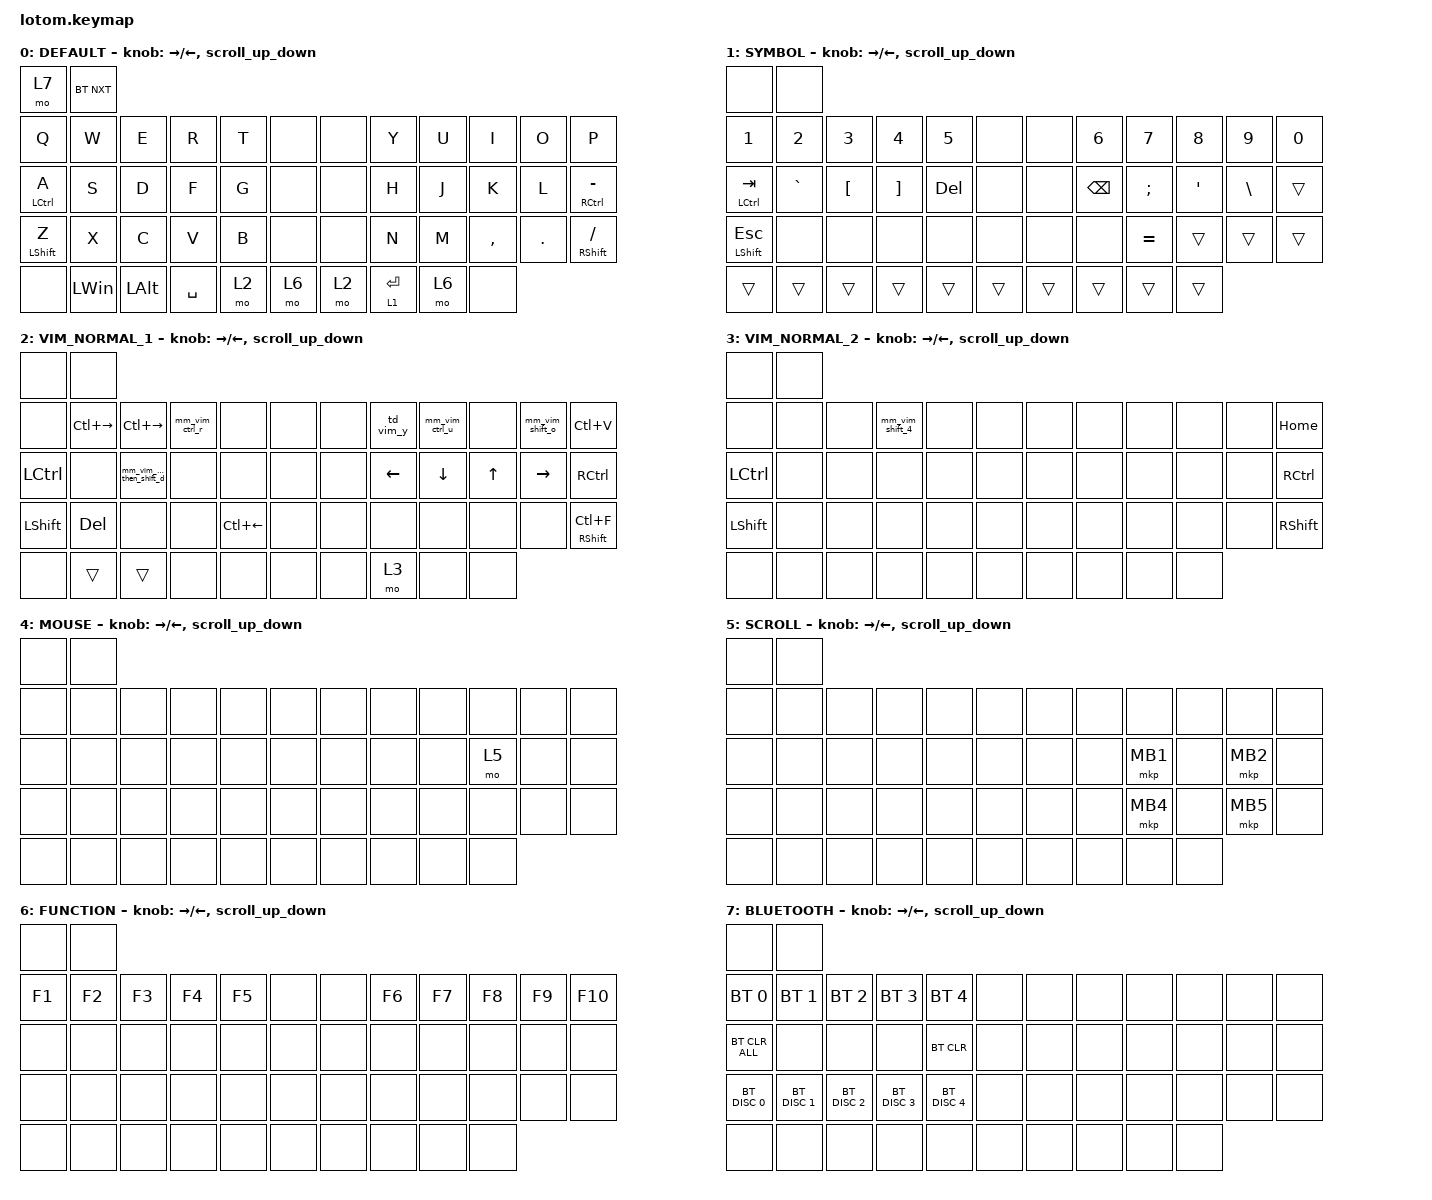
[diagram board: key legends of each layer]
#include <input/processors.dtsi>
#include <behaviors.dtsi>
#include <dt-bindings/zmk/bt.h>
#include <dt-bindings/zmk/keys.h>
#include <dt-bindings/zmk/pointing.h>

#define ZMK_POINTING_DEFAULT_SCRL_VAL 80

&mt {
    quick-tap-ms = <150>;
    tapping-term-ms = <150>;
    flavor = "tap-preferred";
};

&lt {
    tapping-term-ms = <150>;
    quick-tap-ms = <150>;
};

&mkp_input_listener { input-processors = <&zip_temp_layer 4 10000>; };

/ {
    behaviors {
        scroll_up_down: behavior_sensor_rotate_mouse_wheel_up_down {
            compatible = "zmk,behavior-sensor-rotate";
            label = "ENCODER_MSC_DOWN_UP";
            #sensor-binding-cells = <0>;
            bindings = <&msc SCRL_DOWN>, <&msc SCRL_UP>;

            tap-ms = <20>;
        };

        tab_slide: behavior_sensor_rotate_tab_slide {
            compatible = "zmk,behavior-sensor-rotate";
            label = "ENCODER_TAB_SLIDE";
            #sensor-binding-cells = <0>;
            bindings = <&kp LA(LG(RIGHT_ARROW))>, <&kp LA(LG(LEFT_ARROW))>;

            tap-ms = <20>;
        };

        td_vim_d: td_vim_d {
            compatible = "zmk,behavior-tap-dance";
            label = "TD_VIM_D";
            #binding-cells = <0>;
            bindings = <&kp LC(X)>, <&macro_vim_dd>;
        };

        mm_vim_shift_d: mm_vim_shift_d {
            compatible = "zmk,behavior-mod-morph";
            label = "MM_VIM_SHIFT_D";
            bindings = <&td_vim_d>, <&macro_vim_shift_d>;

            #binding-cells = <0>;
            mods = <(MOD_LSFT|MOD_RSFT)>;
        };

        td_vim_y: td_vim_y {
            compatible = "zmk,behavior-tap-dance";
            label = "TD_VIM_Y";
            #binding-cells = <0>;
            bindings = <&kp LC(C)>, <&macro_vim_yy>;
        };

        mm_vim_ctrl_u: mm_vim_ctrl_u {
            compatible = "zmk,behavior-mod-morph";
            label = "MM_VIM_CTRL_U";
            bindings = <&kp LC(Z)>, <&kp PAGE_UP>;

            #binding-cells = <0>;
            mods = <(MOD_LCTL|MOD_RCTL)>;
        };

        mm_vim_shift_o: mm_vim_shift_o {
            compatible = "zmk,behavior-mod-morph";
            label = "MM_VIM_SHIFT_O";
            bindings = <&macro_vim_o>, <&macro_vim_shift_o>;

            #binding-cells = <0>;
            mods = <(MOD_LSFT|MOD_RSFT)>;
        };

        mm_vim_ctrl_then_shift_d: mm_vim_ctrl_then_shift_d {
            compatible = "zmk,behavior-mod-morph";
            label = "MM_VIM_CTRL_THEN_SHIFT_D";
            bindings = <&mm_vim_shift_d>, <&kp PAGE_DOWN>;

            #binding-cells = <0>;
            mods = <(MOD_LCTL|MOD_RCTL)>;
        };

        mm_vim_shift_4: mm_vim_shift_4 {
            compatible = "zmk,behavior-mod-morph";
            label = "MM_VIM_SHIFT_4";
            bindings = <&none>, <&kp END>;

            #binding-cells = <0>;
            mods = <(MOD_LSFT|MOD_RSFT)>;
        };

        mm_vim_ctrl_r: mm_vim_ctrl_r {
            compatible = "zmk,behavior-mod-morph";
            label = "MM_VIM_CTRL_R";
            bindings = <&none>, <&kp LC(Y)>;

            #binding-cells = <0>;
            mods = <(MOD_LCTL|MOD_RCTL)>;
        };
    };

    macros {
        macro_vim_dd: macro_delete_line {
            compatible = "zmk,behavior-macro";
            #binding-cells = <0>;
            bindings =
                <&kp HOME>,
                <&macro_wait_time 100>,
                <&kp LS(END)>,
                <&macro_wait_time 100>,
                <&kp LC(X)>;

            label = "MACRO_DELETE_LINE";
        };

        macro_vim_yy: macro_yank_line {
            compatible = "zmk,behavior-macro";
            #binding-cells = <0>;
            bindings =
                <&kp HOME>,
                <&macro_wait_time 100>,
                <&kp LS(END)>,
                <&macro_wait_time 100>,
                <&kp LC(C)>;

            label = "MACRO_YANK_LINE";
        };

        macro_vim_shift_d: macro_vim_shift_d {
            compatible = "zmk,behavior-macro";
            #binding-cells = <0>;
            bindings = <&kp LS(END)>, <&macro_wait_time 100>, <&kp LC(X)>;

            label = "MACRO_VIM_SHIFT_D";
        };

        macro_vim_o: macro_vim_o {
            compatible = "zmk,behavior-macro";
            #binding-cells = <0>;
            bindings = <&kp END>, <&macro_wait_time 100>, <&kp ENTER>;

            label = "MACRO_VIM_O";
        };

        macro_vim_shift_o: macro_vim_shift_o {
            compatible = "zmk,behavior-macro";
            #binding-cells = <0>;
            bindings =
                <&kp HOME>,
                <&macro_wait_time 100>,
                <&kp ENTER>,
                <&macro_wait_time 100>,
                <&kp UP_ARROW>;

            label = "MACRO_VIM_SHIFT_O";
        };
    };

    combos { compatible = "zmk,combos"; };

    keymap {
        compatible = "zmk,keymap";

        DEFAULT {
            bindings = <
&mo 7               &bt BT_NXT
&kp Q               &kp W         &kp E         &kp R      &kp T  &none  &none  &kp Y        &kp U  &kp I      &kp O    &kp P
&mt LEFT_CONTROL A  &kp S         &kp D         &kp F      &kp G  &none  &none  &kp H        &kp J  &kp K      &kp L    &mt RCTRL MINUS
&mt LEFT_SHIFT Z    &kp X         &kp C         &kp V      &kp B  &none  &none  &kp N        &kp M  &kp COMMA  &kp DOT  &mt RIGHT_SHIFT SLASH
&none               &kp LEFT_WIN  &kp LEFT_ALT  &kp SPACE  &mo 2  &mo 6  &mo 2  &lt 1 ENTER  &mo 6  &none
            >;

            sensor-bindings = <
                &inc_dec_kp RIGHT_ARROW LEFT_ARROW
                &scroll_up_down
            >;
        };

        SYMBOL {
            bindings = <
&none                  &none
&kp N1                 &kp N2     &kp N3            &kp N4             &kp N5      &none   &none   &kp N6         &kp N7         &kp N8            &kp N9         &kp N0
&mt LCTRL TAB          &kp GRAVE  &kp LEFT_BRACKET  &kp RIGHT_BRACKET  &kp DELETE  &none   &none   &kp BACKSPACE  &kp SEMICOLON  &kp SINGLE_QUOTE  &kp BACKSLASH  &trans
&mt LEFT_SHIFT ESCAPE  &none      &none             &none              &none       &none   &none   &none          &kp EQUAL      &trans            &trans         &trans
&trans                 &trans     &trans            &trans             &trans      &trans  &trans  &trans         &trans         &trans
            >;

            sensor-bindings = <
                &inc_dec_kp RIGHT_ARROW LEFT_ARROW
                &scroll_up_down
            >;
        };

        VIM_NORMAL_1 {
            bindings = <
&none           &none
&none           &kp LC(RIGHT)  &kp LC(RIGHT)              &mm_vim_ctrl_r  &none         &none  &none  &td_vim_y  &mm_vim_ctrl_u  &none         &mm_vim_shift_o  &kp LC(V)
&kp LCTRL       &none          &mm_vim_ctrl_then_shift_d  &none           &none         &none  &none  &kp LEFT   &kp DOWN        &kp UP_ARROW  &kp RIGHT        &kp RCTRL
&kp LEFT_SHIFT  &kp DELETE     &none                      &none           &kp LC(LEFT)  &none  &none  &none      &none           &none         &none            &mt RIGHT_SHIFT LC(F)
&none           &trans         &trans                     &none           &none         &none  &none  &mo 3      &none           &none
            >;

            sensor-bindings = <
                &inc_dec_kp RIGHT_ARROW LEFT_ARROW
                &scroll_up_down
            >;
        };

        VIM_NORMAL_2 {
            bindings = <
&none           &none
&none           &none  &none  &mm_vim_shift_4  &none  &none  &none  &none  &none  &none  &none  &kp HOME
&kp LCTRL       &none  &none  &none            &none  &none  &none  &none  &none  &none  &none  &kp RCTRL
&kp LEFT_SHIFT  &none  &none  &none            &none  &none  &none  &none  &none  &none  &none  &kp RIGHT_SHIFT
&none           &none  &none  &none            &none  &none  &none  &none  &none  &none
            >;

            sensor-bindings =
                <&inc_dec_kp RIGHT_ARROW LEFT_ARROW>,
                <&scroll_up_down>;
        };

        MOUSE {
            bindings = <
&none  &none
&none  &none  &none  &none  &none  &none  &none  &none  &none  &none  &none  &none
&none  &none  &none  &none  &none  &none  &none  &none  &none  &mo 5  &none  &none
&none  &none  &none  &none  &none  &none  &none  &none  &none  &none  &none  &none
&none  &none  &none  &none  &none  &none  &none  &none  &none  &none
            >;

            sensor-bindings = <
                &inc_dec_kp RIGHT_ARROW LEFT_ARROW
                &scroll_up_down
            >;
        };

        SCROLL {
            bindings = <
&none  &none
&none  &none  &none  &none  &none  &none  &none  &none  &none     &none  &none     &none
&none  &none  &none  &none  &none  &none  &none  &none  &mkp MB1  &none  &mkp MB2  &none
&none  &none  &none  &none  &none  &none  &none  &none  &mkp MB4  &none  &mkp MB5  &none
&none  &none  &none  &none  &none  &none  &none  &none  &none     &none
            >;

            sensor-bindings = <
                &inc_dec_kp RIGHT_ARROW LEFT_ARROW
                &scroll_up_down
            >;
        };

        FUNCTION {
            bindings = <
&none   &none
&kp F1  &kp F2  &kp F3  &kp F4  &kp F5  &none  &none  &kp F6  &kp F7  &kp F8  &kp F9  &kp F10
&none   &none   &none   &none   &none   &none  &none  &none   &none   &none   &none   &none
&none   &none   &none   &none   &none   &none  &none  &none   &none   &none   &none   &none
&none   &none   &none   &none   &none   &none  &none  &none   &none   &none
            >;

            sensor-bindings = <
                &inc_dec_kp RIGHT_ARROW LEFT_ARROW
                &scroll_up_down
            >;
        };

        BLUETOOTH {
            bindings = <
&none           &none
&bt BT_SEL 0    &bt BT_SEL 1   &bt BT_SEL 2   &bt BT_SEL 3   &bt BT_SEL 4   &none  &none  &none  &none  &none  &none  &none
&bt BT_CLR_ALL  &none          &none          &none          &bt BT_CLR     &none  &none  &none  &none  &none  &none  &none
&bt BT_DISC 0   &bt BT_DISC 1  &bt BT_DISC 2  &bt BT_DISC 3  &bt BT_DISC 4  &none  &none  &none  &none  &none  &none  &none
&none           &none          &none          &none          &none          &none  &none  &none  &none  &none
            >;

            sensor-bindings = <
                &inc_dec_kp RIGHT_ARROW LEFT_ARROW
                &scroll_up_down
            >;
        };
    };
};
